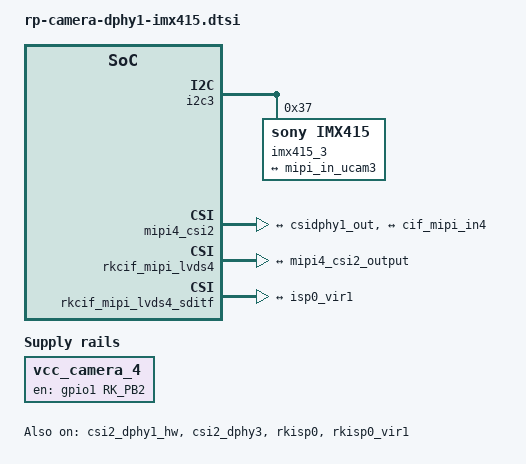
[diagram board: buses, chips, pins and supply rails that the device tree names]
/{
        vcc_camera_4: vcc-camera_4-regulator {
                compatible = "regulator-fixed";
                gpio = <&gpio1 RK_PB2 GPIO_ACTIVE_HIGH>;
                pinctrl-names = "default";
                pinctrl-0 = <&camera4_pwr>;
                regulator-name = "vcc_camera4";
                enable-active-high;
                regulator-always-on;
                regulator-boot-on;
        };
};


&i2c3 {
	status = "okay";
	pinctrl-names = "default";
	pinctrl-0 = <&i2c3m0_xfer>;

  
	imx415_3: imx415_3@37 {
		compatible = "sony,imx415";
		status = "okay";
		reg = <0x37>;
		clocks = <&cru CLK_MIPI_CAMARAOUT_M4>;
		clock-names = "xvclk";
		power-domains = <&power RK3588_PD_VI>;
		pinctrl-names = "default";
		pinctrl-0 = <&mipim0_camera4_clk>;
		rockchip,grf = <&sys_grf>;
//		pwdn-gpios = <&gpio1 RK_PB2 GPIO_ACTIVE_HIGH>;
		rockchip,camera-module-index = <3>;
		rockchip,camera-module-facing = "back";
		rockchip,camera-module-name = "CMK-OT2022-PX1";
		rockchip,camera-module-lens-name = "IR0147-50IRC-8M-F20";
		port {
			imx415_out3: endpoint {
				remote-endpoint = <&mipi_in_ucam3>;
				data-lanes = <1 2 3 4>;
			};
		};
	};
};

&csi2_dphy1_hw {
	status = "okay";
};

&csi2_dphy3 {
	status = "okay";
	ports {
		#address-cells = <1>;
		#size-cells = <0>;
		port@0 {
			reg = <0>;
			#address-cells = <1>;
			#size-cells = <0>;
			mipi_in_ucam3: endpoint@1 {
				reg = <1>;
				remote-endpoint = <&imx415_out3>;
				data-lanes = <1 2 3 4>;
			};
		};
		port@1 {
			reg = <1>;
			#address-cells = <1>;
			#size-cells = <0>;
			csidphy1_out: endpoint@0 {
				reg = <0>;
				remote-endpoint = <&mipi4_csi2_input>;
			};
		};
	};
};

&mipi4_csi2 {
	status = "okay";
	ports {
		#address-cells = <1>;
		#size-cells = <0>;
		port@0 {
			reg = <0>;
			#address-cells = <1>;
			#size-cells = <0>;
			mipi4_csi2_input: endpoint@1 {
				reg = <1>;
				remote-endpoint = <&csidphy1_out>;
			};
		};
		port@1 {
			reg = <1>;
			#address-cells = <1>;
			#size-cells = <0>;
			mipi4_csi2_output: endpoint@0 {
				reg = <0>;
				remote-endpoint = <&cif_mipi_in4>;
			};
		};
	};
};


&rkcif_mipi_lvds4 {
	status = "okay";
	port {
		cif_mipi_in4: endpoint {
			remote-endpoint = <&mipi4_csi2_output>;
		};
	};
};

&rkcif_mipi_lvds4_sditf {
	status = "okay";
	port {
		mipi4_lvds_sditf: endpoint {
			remote-endpoint = <&isp0_vir1>;
		};
	};
};

&rkisp0 {
	status = "okay";
};

&isp0_mmu {
	status = "okay";
};

&rkisp0_vir1 {
	status = "okay";
	port {
		#address-cells = <1>;
		#size-cells = <0>;

		isp0_vir1: endpoint@0 {
			reg = <0>;
			remote-endpoint = <&mipi4_lvds_sditf>;
		};
	};
};
&pinctrl {              
                camera4_pwr: camera4_pwr {
                        rockchip,pins =
                                /* camera power en */
                                <1 RK_PB2 3 &pcfg_pull_up>;
                };      
};
